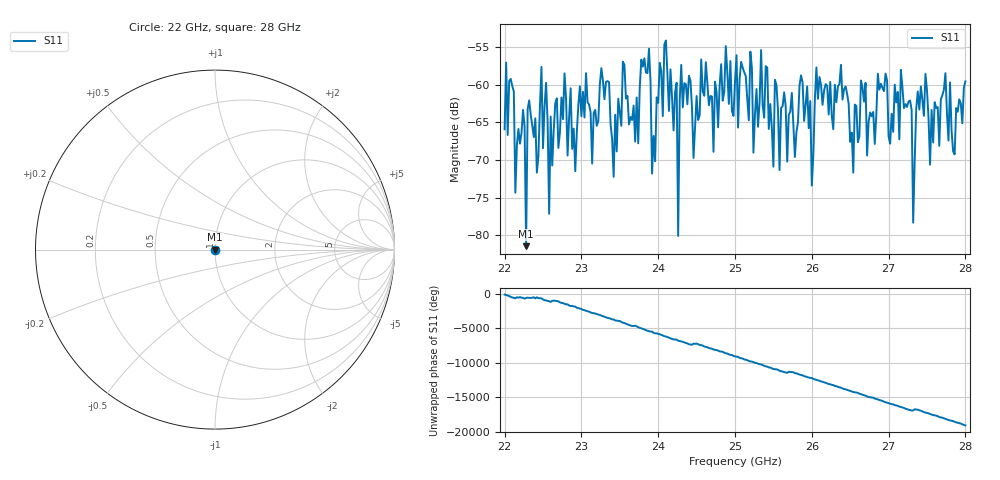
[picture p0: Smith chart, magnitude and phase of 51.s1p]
#  HZ  S  RI  R  50.00
! Rohde & Schwarz ZVA40 4Ports - Version 3.90 - 1145.1110k42 SN: 100403
! Date: 2023-10-04 06:39:44
! Measurement: S12
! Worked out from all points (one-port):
!   301 points, 22 GHz to 28 GHz, reference 50 ohm
!   lowest |S11| = -81.4 dB at 22.28 GHz (marker M1), VSWR 1.00, Z = 50 + j0.00296 ohm
!   |S11| at or under -10 dB: start of sweep to end of sweep
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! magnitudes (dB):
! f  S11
! 22 GHz  -65.9
! 22.14 GHz  -74.3
! 22.24 GHz  -63.3
! 22.28 GHz  -81.4
! 22.32 GHz  -62.1
! 22.42 GHz  -71.7
! 22.54 GHz  -59.7
! 22.58 GHz  -77.1
! 22.6 GHz  -64.2
! 22.76 GHz  -64.6
! 23.5 GHz  -63.6
! 23.88 GHz  -55.2
! 23.92 GHz  -71.8
! 24.1 GHz  -54.1
! 24.24 GHz  -59.7
! 24.26 GHz  -80.1
! 24.3 GHz  -57.3
! 24.46 GHz  -69.7
! 24.56 GHz  -56.6
! 24.72 GHz  -68.9
! 25 GHz  -59.6
! 25.76 GHz  -65.4
! 26.5 GHz  -67.6
! 27.26 GHz  -62.2
! 27.32 GHz  -78.3
! 27.38 GHz  -60.9
! 27.54 GHz  -70.6
! 28 GHz  -59.5
